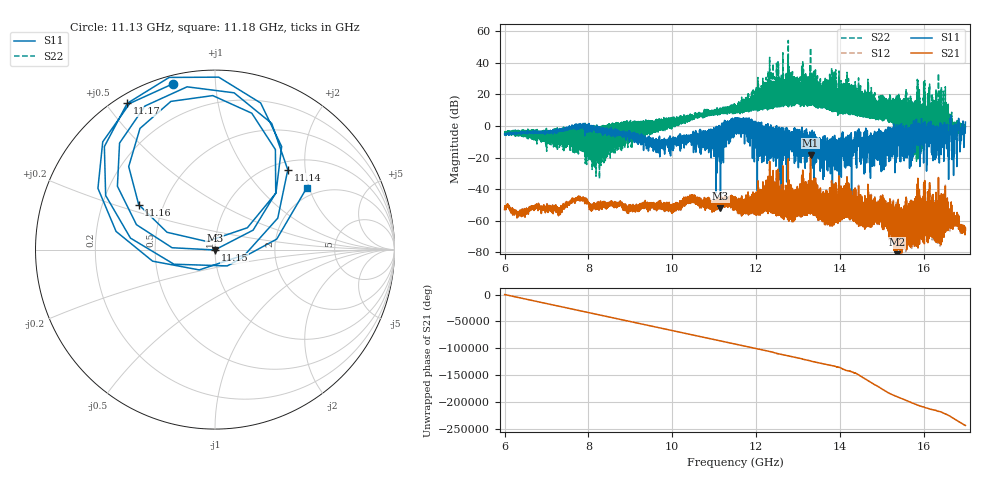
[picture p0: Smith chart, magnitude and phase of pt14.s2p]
#  HZ  S  RI  R  50.00
! Rohde & Schwarz Vector Network Analyzer
! Rohde-Schwarz,ZNA67-2Port,1332450062101215,3.01
! Created: UTC 10/15/2026, 2:03:23 PM
! freq[Hz]  re:S11  im:S11  re:S21  im:S21  re:S12  im:S12  re:S22  im:S22
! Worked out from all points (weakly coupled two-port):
!   11001 points, 6 GHz to 17 GHz, reference 50 ohm
!   highest |S21| = -18.31 dB at 13.3 GHz (marker M1); lowest = -85.2 dB at 15.37 GHz (marker M2)
!   lowest |S11| = -52.0 dB at 11.15 GHz (marker M3), VSWR 1.01, Z = 49.9 - j0.206 ohm
!   |S11| at or under -10 dB: 9.82902 GHz to 9.868952 GHz (39.93 MHz wide, 0.405 % of centre); 13.65175 GHz to 13.69089 GHz (39.13 MHz wide, 0.286 % of centre); 13.7197 GHz to 13.76975 GHz (50.05 MHz wide, 0.364 % of centre) (the widest 3 of 483)
!   |S22| runs from -33.3 to 54.0 dB; largest |S21 - S12| = 0.0078
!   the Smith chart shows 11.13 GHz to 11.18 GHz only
!   S11 on the Smith chart (normalised r, x): 11.13 GHz: 0.04, +0.78; 11.14 GHz: 1.16, +1.61; 11.15 GHz: 1.00, -0.00; 11.16 GHz: 0.36, +0.24; 11.17 GHz: 0.03, +0.57; 11.18 GHz: 1.74, +1.92
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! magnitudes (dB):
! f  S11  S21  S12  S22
! 6 GHz  -5.3  -53.0  -52.9  -4.8
! 7.324 GHz  -3.0  -52.1  -51.9  -2.0
! 7.834 GHz  -0.6  -46.3  -46.1  -7.7
! 8.072 GHz  -2.0  -51.9  -51.6  -0.5
! 9.667 GHz  -10.5  -50.8  -51.0  -1.3
! 11.13 GHz  -0.4  -47.6  -47.6  10.0
! 11.14 GHz  -4.4  -49.2  -49.5  8.2
! 11.15 GHz  -52.0  -51.7  -52.0  7.9
! 11.16 GHz  -6.1  -50.6  -50.8  9.4
! 11.17 GHz  -0.4  -50.3  -50.4  8.2
! 11.18 GHz  -4.2  -49.7  -50.0  8.5
! 11.5 GHz  4.7  -52.4  -52.2  9.5
! 13.3 GHz  -13.3  -18.3  -18.3  49.2
! 13.33 GHz  -6.7  -52.1  -52.5  16.4
! 13.89 GHz  -8.0  -58.8  -58.7  10.9
! 14.15 GHz  -9.0  -57.6  -57.5  8.2
! 15.17 GHz  -9.5  -58.8  -59.9  8.0
! 15.37 GHz  -9.9  -85.2  -84.3  -0.2
! 15.92 GHz  -8.5  -60.9  -61.2  -1.7
! 16.37 GHz  -21.0  -62.2  -63.0  -3.2
! 16.76 GHz  -5.7  -62.2  -61.5  -4.8
! 17 GHz  2.4  -65.9  -64.8  -0.2
